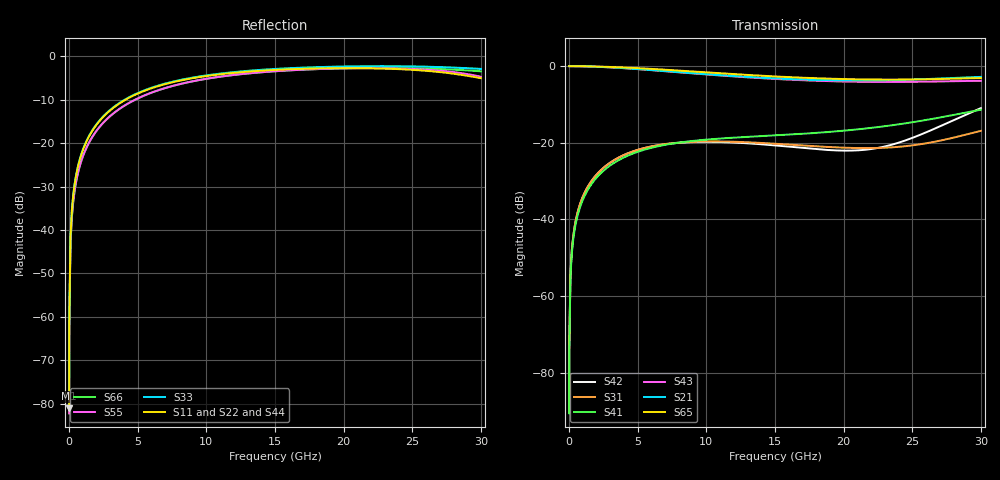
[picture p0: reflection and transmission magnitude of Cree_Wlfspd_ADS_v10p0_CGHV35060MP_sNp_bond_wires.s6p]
! AWR Design Environment (8379) Fri Oct 20 13:10:57 2017
! Document = 'SNP file for bond wire array'
! nPorts: 6, nXvals: 303
# HZ S DB R 50
!Freq DBS11 AngS11 DBS12 AngS12 DBS13 AngS13 DBS14 AngS14
!	DBS15 AngS15 DBS16 AngS16
!	DBS21 AngS21 DBS22 AngS22 DBS23 AngS23 DBS24 AngS24
!	DBS25 AngS25 DBS26 AngS26
!	DBS31 AngS31 DBS32 AngS32 DBS33 AngS33 DBS34 AngS34
!	DBS35 AngS35 DBS36 AngS36
!	DBS41 AngS41 DBS42 AngS42 DBS43 AngS43 DBS44 AngS44
!	DBS45 AngS45 DBS46 AngS46
!	DBS51 AngS51 DBS52 AngS52 DBS53 AngS53 DBS54 AngS54
!	DBS55 AngS55 DBS56 AngS56
!	DBS61 AngS61 DBS62 AngS62 DBS63 AngS63 DBS64 AngS64
!	DBS65 AngS65 DBS66 AngS66
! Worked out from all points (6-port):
!   302 points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, 1 MHz to 30 GHz, reference 50 ohm
!   strongest paths, dB at 1 MHz, 7.4 GHz, 15 GHz, 22.5 GHz, 30 GHz:
!     S65: 0.0, -1.0, -2.7, -3.5, -3.1
!     S21: 0.0, -1.4, -3.2, -3.7, -2.8
!     S43: 0.0, -1.4, -3.3, -4.1, -3.8
!     S41: -90.7, -20.3, -18.1, -15.9, -11.4
!     S31: -90.3, -20.2, -20.3, -21.4, -16.9
!     S42: -90.3, -20.2, -20.7, -21.4, -11.0
!   lowest |S11| = -81.0 dB at 1 MHz (marker M1), VSWR 1.00, Z = 50 - j0.00828 ohm
!   |S11| at or under -10 dB: start of sweep to 4.121 GHz
